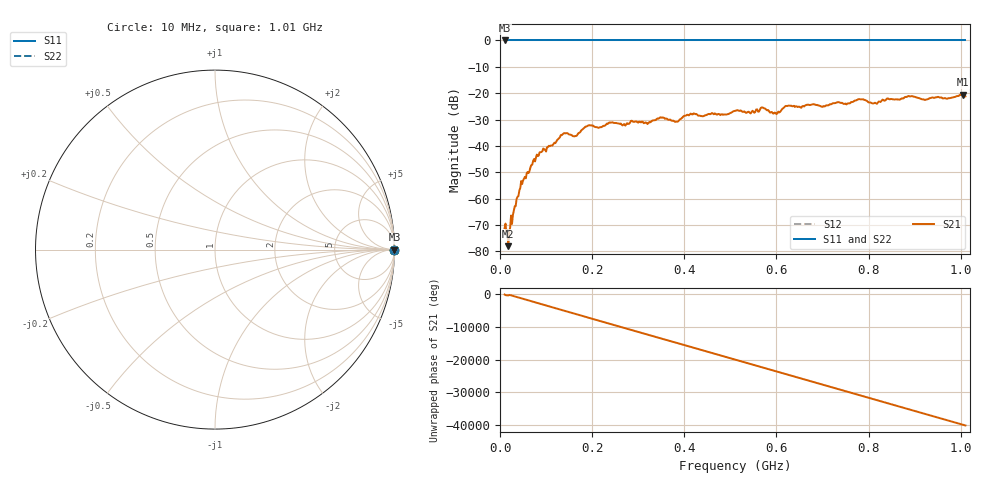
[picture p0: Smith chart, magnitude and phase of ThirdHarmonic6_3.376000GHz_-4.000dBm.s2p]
! 8/17/2025 10:43:09 AM
! C:\ANRITSUVNA\TEMP\TEMP.S2P
! CHANNEL.1
! TR.MEASUREMENT
! RAW.DATA
! RF.CORRECTION.OFF
! AVERAGING.OFF
! IF.BANDWIDTH: 5KHZ
! SWEEPTYPE:  FREQ.SWEEP(Linear)
! Reference Plane Port Info
! PORT:  PORT1  PORT2
! DISTANCE:  0  m  0  m
! TIME:  0  s  0  s
! PHASE.OFFSET:  0  deg.  0  deg.
! LOSS:  0  dB  0  dB
! REF.LOSS:  0  dB  0  dB
! REF.FREQ:  0  Hz  0  Hz
! Power Info
! POWER:  -20  dBm  -20  dBm
! EFF.POWER:  -20  dBm  -20  dBm
! SOURCE.ATTEN:  0  dB  0  dB
! TEST.ATTEN:  0  dB  0  dB
# GHZ S RI R 50.0
! FREQ.GHZ  S11RE  S11IM  S21RE  S21IM  S12RE  S12IM  S22RE  S22IM
!; PortSelection: Port_12
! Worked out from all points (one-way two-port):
!   501 points, 10 MHz to 1.01 GHz, reference 50 ohm
!   highest |S21| = -20.58 dB at 1.004 GHz (marker M1); lowest = -78.0 dB at 18 MHz (marker M2)
!   lowest |S11| = 0.0 dB at 10 MHz (marker M3)
!   |S11| at or under -10 dB: nowhere
!   |S22| runs from 0.0 to 0.0 dB; largest |S21 - S12| = 1.1
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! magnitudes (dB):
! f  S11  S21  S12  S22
! 10 MHz  0.0  -71.2  0.0  0.0
! 18 MHz  0.0  -78.0  0.0  0.0
! 46 MHz  0.0  -53.3  0.0  0.0
! 76 MHz  0.0  -45.9  0.0  0.0
! 136 MHz  0.0  -35.6  0.0  0.0
! 162 MHz  0.0  -36.4  0.0  0.0
! 178 MHz  0.0  -33.9  0.0  0.0
! 194 MHz  0.0  -32.1  0.0  0.0
! 322 MHz  0.0  -31.3  0.0  0.0
! 344 MHz  0.0  -29.7  0.0  0.0
! 384 MHz  0.0  -30.7  0.0  0.0
! 416 MHz  0.0  -28.0  0.0  0.0
! 510 MHz  0.0  -26.7  0.0  0.0
! 570 MHz  0.0  -25.4  0.0  0.0
! 598 MHz  0.0  -27.5  0.0  0.0
! 622 MHz  0.0  -24.8  0.0  0.0
! 678 MHz  0.0  -24.2  0.0  0.0
! 782 MHz  0.0  -22.3  0.0  0.0
! 814 MHz  0.0  -23.6  0.0  0.0
! 844 MHz  0.0  -22.2  0.0  0.0
! 1.004 GHz  0.0  -20.6  0.0  0.0
! 1.01 GHz  0.0  -21.2  0.0  0.0
